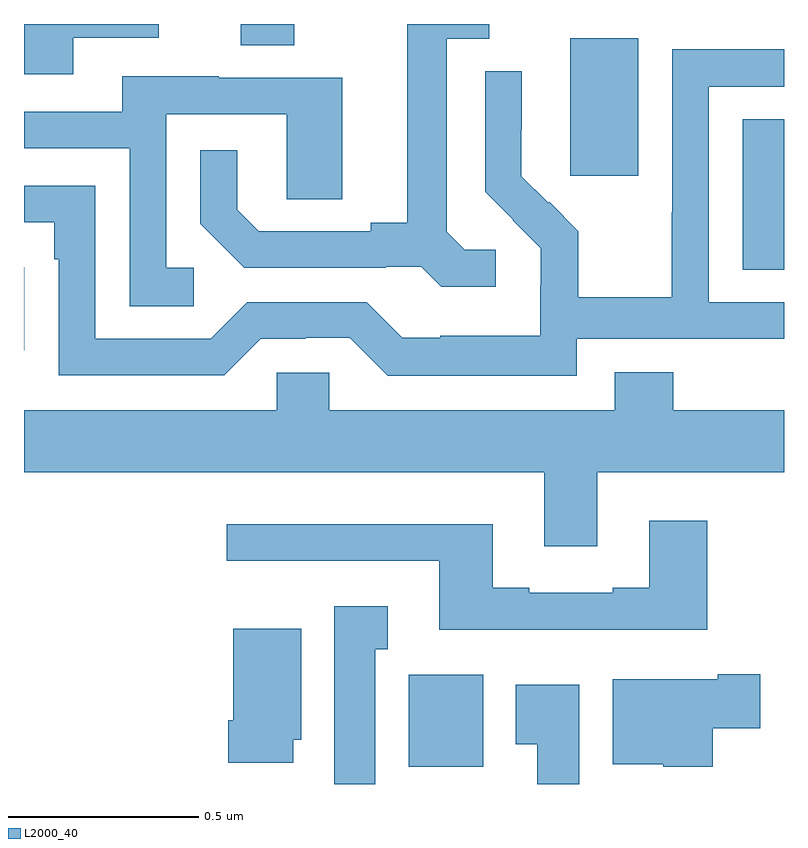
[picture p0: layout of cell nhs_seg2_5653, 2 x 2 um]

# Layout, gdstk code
import gdstk
lib = gdstk.Library(unit=1e-6, precision=1e-09)
def R(c, l, rs):  # rectangles x0, y0, x1, y1
    for r in rs: c.add(gdstk.rectangle(r[:2], r[2:], *l))
def P(c, l, *ps):  # polygons
    for p in ps: c.add(gdstk.Polygon(p, *l))
L2000_40 = (2000, 40)

nhs_seg2_5653 = lib.new_cell('nhs_seg2_5653')
R(nhs_seg2_5653, L2000_40, [(182.012,662.846,182.209,663.088), (181,663.942,181.001,664.16), (182.891,664.153,183,664.55), (182.438,664.401,182.617,664.762), (181.571,664.744,181.711,664.8)])
P(nhs_seg2_5653, L2000_40, [(182.242,664.206),(182.16,664.206),(182.113,664.253),(182.113,664.761),(182.224,664.761),(182.224,664.8),(182.009,664.8),(182.009,664.277),(181.913,664.277),(181.913,664.254),(181.618,664.254),(181.561,664.311),(181.561,664.468),(181.464,664.468),(181.464,664.274),(181.58,664.158),(181.952,664.158),(181.952,664.161),(182.046,664.161),(182.098,664.109),(182.242,664.109)],
  [(181.129,664.764),(181.354,664.764),(181.354,664.8),(181,664.8),(181,664.668),(181.129,664.668)],
  [(182.454,663.972),(183,663.972),(183,664.068),(182.802,664.068),(182.802,664.635),(183,664.635),(183,664.734),(182.706,664.734),(182.706,664.304),(182.704,664.304),(182.704,664.081),(182.459,664.081),(182.459,664.255),(182.382,664.332),(182.379,664.329),(182.309,664.4),(182.309,664.522),(182.31,664.522),(182.31,664.676),(182.214,664.676),(182.214,664.358),(182.287,664.285),(182.286,664.284),(182.36,664.21),(182.36,664.113),(182.358,664.113),(182.358,663.979),(182.095,663.979),(182.095,663.975),(181.995,663.975),(181.902,664.068),(181.587,664.068),(181.491,663.972),(181.188,663.972),(181.188,664.374),(181,664.374),(181,664.278),(181.079,664.278),(181.079,664.181),(181.092,664.181),(181.092,663.876),(181.527,663.876),(181.623,663.972),(181.742,663.972),(181.742,663.975),(181.857,663.975),(181.957,663.875),(182.454,663.875)],
  [(181.447,664.158),(181.374,664.158),(181.374,664.563),(181.692,664.563),(181.692,664.339),(181.837,664.339),(181.837,664.659),(181.513,664.659),(181.513,664.663),(181.259,664.663),(181.259,664.569),(181,664.569),(181,664.473),(181.278,664.473),(181.278,664.057),(181.447,664.057)],
  [(182.509,663.62),(183,663.62),(183,663.784),(182.708,663.784),(182.708,663.883),(182.555,663.883),(182.555,663.784),(181.803,663.784),(181.803,663.882),(181.665,663.882),(181.665,663.784),(181,663.784),(181,663.62),(182.369,663.62),(182.369,663.426),(182.509,663.426)],
  [(182.798,663.493),(182.645,663.493),(182.645,663.316),(182.549,663.316),(182.549,663.303),(182.329,663.303),(182.329,663.316),(182.233,663.316),(182.233,663.484),(181.533,663.484),(181.533,663.387),(182.093,663.387),(182.093,663.206),(182.798,663.206)],
  [(181.924,663.155),(181.957,663.155),(181.957,663.268),(181.817,663.268),(181.817,662.8),(181.924,662.8)],
  [(181.708,662.916),(181.729,662.916),(181.729,663.208),(181.55,663.208),(181.55,662.968),(181.538,662.968),(181.538,662.856),(181.708,662.856)],
  [(182.813,662.947),(182.938,662.947),(182.938,663.089),(182.825,663.089),(182.825,663.076),(182.549,663.076),(182.549,662.852),(182.682,662.852),(182.682,662.846),(182.813,662.846)],
  [(182.461,663.061),(182.294,663.061),(182.294,662.905),(182.351,662.905),(182.351,662.8),(182.461,662.8)])

lib.write_gds('nhs_seg2_5653.gds')
